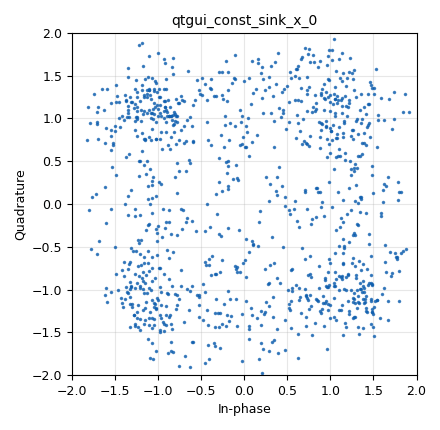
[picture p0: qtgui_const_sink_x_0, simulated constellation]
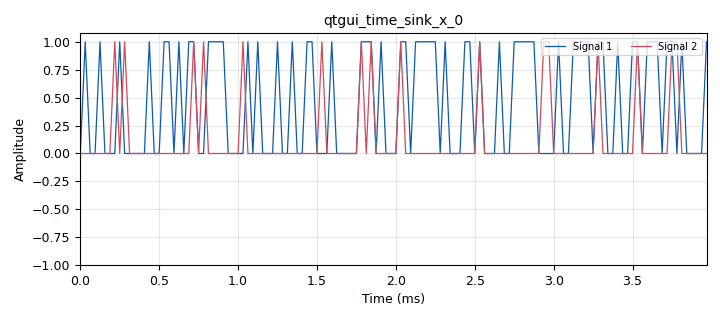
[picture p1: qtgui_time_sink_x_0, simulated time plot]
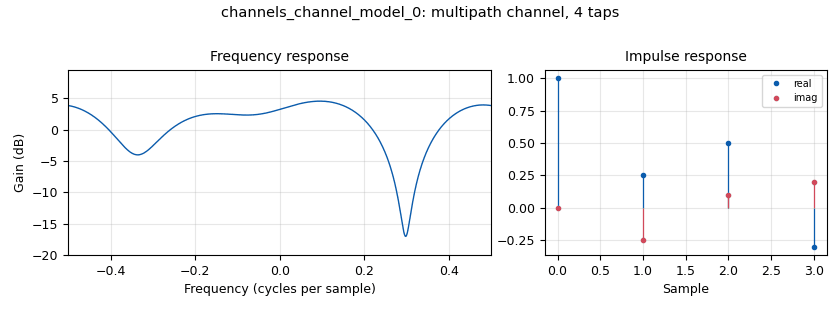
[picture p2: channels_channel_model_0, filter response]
options:
  parameters:
    category: Custom
    generate_options: qt_gui
    id: mpsk_2
    output_language: python
  states: {}

blocks:
- name: delay
  id: variable_qtgui_range
  parameters:
    gui_hint: 1,0,1,2
    label: Delay
    orient: Qt.Horizontal
    start: '0'
    step: '1'
    stop: '200'
    value: '58'
  states: {}
- name: excess_bw
  id: variable
  parameters:
    value: '0.35'
  states: {}
- name: freq_offset
  id: variable_qtgui_range
  parameters:
    gui_hint: 0,1,1,1
    label: Frequency Offset
    orient: Qt.Horizontal
    start: '-0.1'
    step: '0.001'
    stop: '0.1'
    value: '0'
  states: {}
- name: nfilts
  id: variable
  parameters:
    value: '32'
  states: {}
- name: noise_volt
  id: variable_qtgui_range
  parameters:
    gui_hint: 0,0,1,1
    label: Noise Voltage
    orient: Qt.Vertical
    start: '0'
    step: '0.01'
    stop: '4'
    value: '0.0001'
  states: {}
- name: qpsk
  id: variable_constellation_rect
  parameters:
    const_points: '[0.707+0.707j, -0.707+0.707j, -0.707-0.707j, 0.707-0.707j]'
    imag_sect: '2'
    real_sect: '2'
    rot_sym: '4'
    sym_map: '[0, 1, 2, 3]'
    w_imag_sect: '1'
    w_real_sect: '1'
  states: {}
- name: rrc_taps
  id: variable
  parameters:
    value: firdes.root_raised_cosine(nfilts, nfilts, 1.0/float(sps), 0.35, 11*sps*nfilts)
  states: {}
- name: samp_rate
  id: variable
  parameters:
    value: '32000'
  states: {}
- name: sps
  id: variable
  parameters:
    value: '4'
  states: {}
- name: taps
  id: variable
  parameters:
    value: '[1.0 + 0.0j, ]'
  states: {state: disabled}
- name: taps
  id: variable
  parameters:
    value: '[1.0, 0.25-0.25j, 0.50 + 0.10j, -0.3 + 0.2j]'
  states: {}
- name: time_offset
  id: variable_qtgui_range
  parameters:
    gui_hint: 0,2,1,1
    label: Timing Offset
    orient: Qt.Horizontal
    start: '0.999'
    step: '0.0001'
    stop: '1.001'
    value: '1.00'
  states: {}
- name: timing_loop_bw
  id: variable_qtgui_range
  parameters:
    gui_hint: 0,3,1,1
    label: 'Time: BW'
    orient: Qt.Horizontal
    start: '0.0'
    step: '0.01'
    stop: '0.2'
    value: 6.28/100.0
    widget: slider
  states: {}
- name: analog_random_source_x_0
  id: analog_random_source_x
  parameters:
    max: '256'
    min: '0'
    num_samps: '1000'
    repeat: 'True'
    type: byte
  states: {}
- name: blocks_char_to_float_0
  id: blocks_char_to_float
  parameters:
    scale: '1'
  states: {}
- name: blocks_char_to_float_1
  id: blocks_char_to_float
  parameters:
    scale: '1'
  states: {}
- name: blocks_delay_1
  id: blocks_delay
  parameters:
    delay: delay
    type: byte
  states: {}
- name: blocks_null_sink_0
  id: blocks_null_sink
  parameters:
    num_inputs: '3'
    type: float
  states: {}
- name: blocks_throttle_0
  id: blocks_throttle
  parameters:
    samples_per_second: samp_rate
    type: complex
  states: {}
- name: blocks_unpack_k_bits_bb_0
  id: blocks_unpack_k_bits_bb
  parameters:
    k: '2'
  states: {}
- name: blocks_unpack_k_bits_bb_1
  id: blocks_unpack_k_bits_bb
  parameters:
    k: '8'
  states: {}
- name: channels_channel_model_0
  id: channels_channel_model
  parameters:
    epsilon: time_offset
    freq_offset: freq_offset
    noise_voltage: noise_volt
    seed: '0'
    taps: taps
  states: {}
- name: digital_constellation_modulator_0
  id: digital_constellation_modulator
  parameters:
    constellation: qpsk
    differential: 'True'
    excess_bw: excess_bw
    samples_per_symbol: sps
  states: {}
- name: digital_constellation_receiver_cb_0
  id: digital_constellation_receiver_cb
  parameters:
    constellation: qpsk
    fmax: '0.1'
    fmin: '-0.1'
    loop_bw: timing_loop_bw
  states: {}
- name: digital_diff_decoder_bb_0
  id: digital_diff_decoder_bb
  parameters:
    modulus: '4'
  states: {}
- name: qtgui_const_sink_x_0
  id: qtgui_const_sink_x
  parameters:
    gui_hint: 2,0,1,2
    size: '1024'
    type: complex
  states: {}
- name: qtgui_time_sink_x_0
  id: qtgui_time_sink_x
  parameters:
    entags: 'False'
    gui_hint: 2,2,1,2
    nconnections: '2'
    size: '128'
    srate: samp_rate
    type: float
  states: {}

connections:
- [analog_random_source_x_0, '0', blocks_unpack_k_bits_bb_1, '0']
- [analog_random_source_x_0, '0', digital_constellation_modulator_0, '0']
- [blocks_char_to_float_0, '0', qtgui_time_sink_x_0, '1']
- [blocks_char_to_float_1, '0', qtgui_time_sink_x_0, '0']
- [blocks_delay_1, '0', blocks_char_to_float_1, '0']
- [blocks_throttle_0, '0', channels_channel_model_0, '0']
- [blocks_unpack_k_bits_bb_0, '0', blocks_char_to_float_0, '0']
- [blocks_unpack_k_bits_bb_1, '0', blocks_delay_1, '0']
- [channels_channel_model_0, '0', digital_constellation_receiver_cb_0, '0']
- [digital_constellation_modulator_0, '0', blocks_throttle_0, '0']
- [digital_constellation_receiver_cb_0, '0', digital_diff_decoder_bb_0, '0']
- [digital_constellation_receiver_cb_0, '1', blocks_null_sink_0, '0']
- [digital_constellation_receiver_cb_0, '2', blocks_null_sink_0, '1']
- [digital_constellation_receiver_cb_0, '3', blocks_null_sink_0, '2']
- [digital_constellation_receiver_cb_0, '4', qtgui_const_sink_x_0, '0']
- [digital_diff_decoder_bb_0, '0', blocks_unpack_k_bits_bb_0, '0']

metadata:
  file_format: 1
